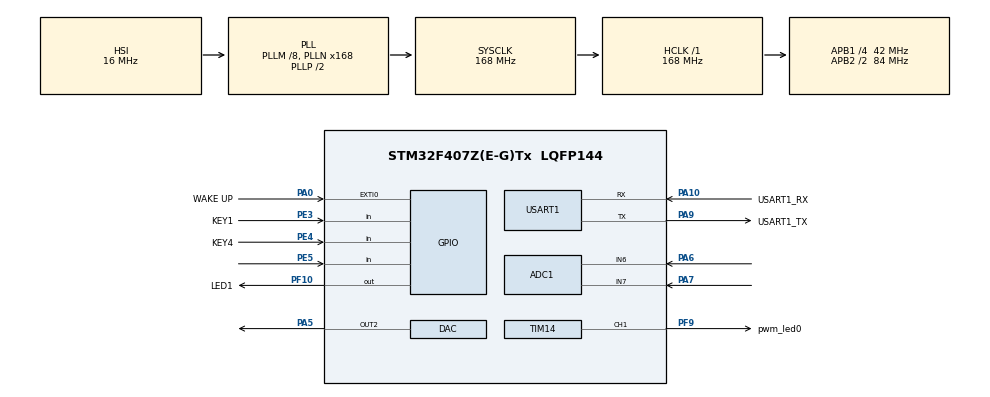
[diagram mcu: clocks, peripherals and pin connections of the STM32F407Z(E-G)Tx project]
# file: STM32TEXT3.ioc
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ADC1.Channel-0\#ChannelRegularConversion=ADC_CHANNEL_6
ADC1.Channel-1\#ChannelRegularConversion=ADC_CHANNEL_6
ADC1.ContinuousConvMode=ENABLE
ADC1.DMAContinuousRequests=ENABLE
ADC1.NbrOfConversion=2
ADC1.NbrOfConversionFlag=1
ADC1.Rank-0\#ChannelRegularConversion=1
ADC1.Rank-1\#ChannelRegularConversion=2
ADC1.SamplingTime-0\#ChannelRegularConversion=ADC_SAMPLETIME_3CYCLES
ADC1.SamplingTime-1\#ChannelRegularConversion=ADC_SAMPLETIME_3CYCLES
ADC1.ScanConvMode=ENABLE
ADC1.master=1
DAC.DAC_Trigger2=DAC_TRIGGER_T2_TRGO
DAC.TriangleAmplitude2=DAC_TRIANGLEAMPLITUDE_4095
DAC.WaveGeneration2=TriangleWaveGeneration
Dma.ADC1.0.Direction=DMA_PERIPH_TO_MEMORY
Dma.ADC1.0.FIFOMode=DMA_FIFOMODE_DISABLE
Dma.ADC1.0.Instance=DMA2_Stream0
Dma.ADC1.0.MemDataAlignment=DMA_MDATAALIGN_WORD
Dma.ADC1.0.MemInc=DMA_MINC_ENABLE
Dma.ADC1.0.Mode=DMA_CIRCULAR
Dma.ADC1.0.PeriphDataAlignment=DMA_PDATAALIGN_WORD
Dma.ADC1.0.PeriphInc=DMA_PINC_DISABLE
Dma.ADC1.0.Priority=DMA_PRIORITY_LOW
Dma.Request0=ADC1
Mcu.Family=STM32F4
Mcu.Name=STM32F407Z(E-G)Tx
Mcu.Package=LQFP144
NVIC.DMA2_Stream0_IRQn=true\:0\:0\:false\:false\:true\:false
NVIC.EXTI0_IRQn=true\:0\:0\:false\:false\:true\:true
NVIC.PriorityGroup=NVIC_PRIORITYGROUP_4
NVIC.TIM3_IRQn=true\:0\:0\:false\:false\:true\:true
PA0-WKUP.GPIO_Label=WAKE UP
PA0-WKUP.Signal=GPXTI0
PA10.GPIO_Label=USART1_RX
PA10.Mode=Asynchronous
PA10.Signal=USART1_RX
PA5.Signal=COMP_DAC2_group
PA6.Signal=ADCx_IN6
PA7.Signal=ADCx_IN7
PA9.GPIO_Label=USART1_TX
PA9.Mode=Asynchronous
PA9.Signal=USART1_TX
PC14-OSC32_IN.Mode=LSE-External-Oscillator
PC14-OSC32_IN.Signal=RCC_OSC32_IN
PC15-OSC32_OUT.Mode=LSE-External-Oscillator
PC15-OSC32_OUT.Signal=RCC_OSC32_OUT
PE3.GPIO_Label=KEY1
PE3.Signal=GPIO_Input
PE4.GPIO_Label=KEY4
PE4.Signal=GPIO_Input
PE5.Signal=GPIO_Input
PF10.GPIO_Label=LED1
PF10.Signal=GPIO_Output
PF9.GPIO_Label=pwm_led0
PF9.GPIO_Speed=GPIO_SPEED_FREQ_HIGH
PF9.Signal=S_TIM14_CH1
PH0-OSC_IN.Mode=HSE-External-Oscillator
PH0-OSC_IN.Signal=RCC_OSC_IN
PH1-OSC_OUT.Mode=HSE-External-Oscillator
PH1-OSC_OUT.Signal=RCC_OSC_OUT
ProjectManager.HeapSize=0x200
ProjectManager.StackSize=0x400
ProjectManager.TargetToolchain=MDK-ARM V5
RCC.48MHZClocksFreq_Value=84000000
RCC.AHBFreq_Value=168000000
RCC.APB1CLKDivider=RCC_HCLK_DIV4
RCC.APB1Freq_Value=42000000
RCC.APB1TimFreq_Value=84000000
RCC.APB2CLKDivider=RCC_HCLK_DIV2
RCC.APB2Freq_Value=84000000
RCC.APB2TimFreq_Value=168000000
RCC.CortexFreq_Value=168000000
RCC.HCLKFreq_Value=168000000
RCC.HSE_VALUE=8000000
RCC.HSI_VALUE=16000000
RCC.PLLM=8
RCC.PLLN=168
RCC.SYSCLKFreq_VALUE=168000000
RCC.SYSCLKSource=RCC_SYSCLKSOURCE_PLLCLK
RCC.VCOOutputFreq_Value=336000000
SH.ADCx_IN6.0=ADC1_IN6,IN6
SH.ADCx_IN7.0=ADC1_IN7,IN7
SH.COMP_DAC2_group.0=DAC_OUT2,DAC_OUT2
SH.S_TIM14_CH1.0=TIM14_CH1,PWM Generation1 CH1
TIM14.Channel=TIM_CHANNEL_1
TIM14.Period=200-1
TIM14.Prescaler=840-1
TIM2.Period=0xA
TIM2.Prescaler=0x2
TIM2.TIM_MasterOutputTrigger=TIM_TRGO_UPDATE
USART1.VirtualMode=VM_ASYNC
VP_TIM14_VS_ClockSourceINT.Mode=Enable_Timer
VP_TIM2_VS_ClockSourceINT.Mode=Internal
VP_TIM3_VS_ClockSourceINT.Mode=Internal
board=STM32TEXT3

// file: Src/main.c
/**
  ******************************************************************************
  * File Name          : main.c
  * Description        : Main program body
  ******************************************************************************
  ** This notice applies to any and all portions of this file
  * that are not between comment pairs USER CODE BEGIN and
  * USER CODE END. Other portions of this file, whether
  * inserted by the user or by software development tools
  * are owned by their respective copyright owners.
  *
  * COPYRIGHT(c) 2018 STMicroelectronics
  *
  * Redistribution and use in source and binary forms, with or without modification,
  * are permitted provided that the following conditions are met:
  *   1. Redistributions of source code must retain the above copyright notice,
  *      this list of conditions and the following disclaimer.
  *   2. Redistributions in binary form must reproduce the above copyright notice,
  *      this list of conditions and the following disclaimer in the documentation
  *      and/or other materials provided with the distribution.
  *   3. Neither the name of STMicroelectronics nor the names of its contributors
  *      may be used to endorse or promote products derived from this software
  *      without specific prior written permission.
  *
  * THIS SOFTWARE IS PROVIDED BY THE COPYRIGHT HOLDERS AND CONTRIBUTORS "AS IS"
  * AND ANY EXPRESS OR IMPLIED WARRANTIES, INCLUDING, BUT NOT LIMITED TO, THE
  * IMPLIED WARRANTIES OF MERCHANTABILITY AND FITNESS FOR A PARTICULAR PURPOSE ARE
  * DISCLAIMED. IN NO EVENT SHALL THE COPYRIGHT HOLDER OR CONTRIBUTORS BE LIABLE
  * FOR ANY DIRECT, INDIRECT, INCIDENTAL, SPECIAL, EXEMPLARY, OR CONSEQUENTIAL
  * DAMAGES (INCLUDING, BUT NOT LIMITED TO, PROCUREMENT OF SUBSTITUTE GOODS OR
  * SERVICES; LOSS OF USE, DATA, OR PROFITS; OR BUSINESS INTERRUPTION) HOWEVER
  * CAUSED AND ON ANY THEORY OF LIABILITY, WHETHER IN CONTRACT, STRICT LIABILITY,
  * OR TORT (INCLUDING NEGLIGENCE OR OTHERWISE) ARISING IN ANY WAY OUT OF THE USE
  * OF THIS SOFTWARE, EVEN IF ADVISED OF THE POSSIBILITY OF SUCH DAMAGE.
  *
  ******************************************************************************
  */

#include "main.h"
#include "stm32f4xx_hal.h"
#include "adc.h"
#include "dac.h"
#include "dma.h"
#include "tim.h"
#include "usart.h"
#include "gpio.h"

/* USER CODE BEGIN PV */
/* Private variables ---------------------------------------------------------*/
uint32_t ADC_Value[100];
uint8_t i;
uint32_t ad1,ad2;
/* USER CODE END PV */

void SystemClock_Config(void);

/* USER CODE BEGIN PFP */
/* Private function prototypes -----------------------------------------------*/

/* USER CODE END PFP */

int main(void)
{

  /* USER CODE BEGIN 1 */
//	uint16_t pwm_value=200;
//	uint16_t step;

  /* USER CODE END 1 */

  /* MCU Configuration----------------------------------------------------------*/

  /* Reset of all peripherals, Initializes the Flash interface and the Systick. */
  HAL_Init();

  /* Configure the system clock */
  SystemClock_Config();

  /* Initialize all configured peripherals */
  MX_GPIO_Init();
  MX_DMA_Init();
  MX_TIM3_Init();
  MX_TIM14_Init();
  MX_USART1_UART_Init();
  MX_ADC1_Init();
  MX_DAC_Init();
  MX_TIM2_Init();

  /* USER CODE BEGIN 2 */
	HAL_TIM_PWM_Start(&htim14, TIM_CHANNEL_1);
	printf("\n\r UART Printf Example: retarget the C library printf function to the UART\n\r");
  HAL_ADC_Start_DMA(&hadc1, (uint32_t*)&ADC_Value, 100);
	HAL_TIM_Base_Start(&htim2);
	HAL_DAC_Start(&hdac, DAC_CHANNEL_2);
  /* USER CODE END 2 */

  /* Infinite loop */
  while (1)
  {
		HAL_Delay(50);
		for(i = 0,ad1 =0,ad2=0; i < 10;)
		{
				ad1 += ADC_Value[i++];
//				ad2 += ADC_Value[i++];
				HAL_Delay(30);
		}
		ad1 /= 10;
//		ad2 /= 50;

		printf("\r\n******** ADC DMA Example ********\r\n\r\n");
		printf(" AD1 value = %1.3fV \r\n", ad1*3.3f/4096);
//		printf(" AD2 value = %1.3fV \r\n", ad2*3.3f/4096);
		printf(" Current value = %3.3fA\r\n", ad1*198.0f/4096);
  /* USER CODE BEGIN 3 */
//     printf("\n\r welcome to www.waveshere.com !!!\n\r");
//     HAL_Delay(1000);
  }
  /* USER CODE END 3 */

}

/** System Clock Configuration
*/
void SystemClock_Config(void)
{

  RCC_OscInitTypeDef RCC_OscInitStruct;
  RCC_ClkInitTypeDef RCC_ClkInitStruct;

    /**Configure the main internal regulator output voltage
    */
  __HAL_RCC_PWR_CLK_ENABLE();

  __HAL_PWR_VOLTAGESCALING_CONFIG(PWR_REGULATOR_VOLTAGE_SCALE1);

    /**Initializes the CPU, AHB and APB busses clocks
    */
  RCC_OscInitStruct.OscillatorType = RCC_OSCILLATORTYPE_HSI;
  RCC_OscInitStruct.HSIState = RCC_HSI_ON;
  RCC_OscInitStruct.HSICalibrationValue = 16;
  RCC_OscInitStruct.PLL.PLLState = RCC_PLL_ON;
  RCC_OscInitStruct.PLL.PLLSource = RCC_PLLSOURCE_HSI;
  RCC_OscInitStruct.PLL.PLLM = 8;
  RCC_OscInitStruct.PLL.PLLN = 168;
  RCC_OscInitStruct.PLL.PLLP = RCC_PLLP_DIV2;
  RCC_OscInitStruct.PLL.PLLQ = 4;
  if (HAL_RCC_OscConfig(&RCC_OscInitStruct) != HAL_OK)
  {
    _Error_Handler(__FILE__, __LINE__);
  }

    /**Initializes the CPU, AHB and APB busses clocks
    */
  RCC_ClkInitStruct.ClockType = RCC_CLOCKTYPE_HCLK|RCC_CLOCKTYPE_SYSCLK
                              |RCC_CLOCKTYPE_PCLK1|RCC_CLOCKTYPE_PCLK2;
  RCC_ClkInitStruct.SYSCLKSource = RCC_SYSCLKSOURCE_PLLCLK;
  RCC_ClkInitStruct.AHBCLKDivider = RCC_SYSCLK_DIV1;
  RCC_ClkInitStruct.APB1CLKDivider = RCC_HCLK_DIV4;
  RCC_ClkInitStruct.APB2CLKDivider = RCC_HCLK_DIV2;

  if (HAL_RCC_ClockConfig(&RCC_ClkInitStruct, FLASH_LATENCY_5) != HAL_OK)
  {
    _Error_Handler(__FILE__, __LINE__);
  }

    /**Configure the Systick interrupt time
    */
  HAL_SYSTICK_Config(HAL_RCC_GetHCLKFreq()/1000);

    /**Configure the Systick
    */
  HAL_SYSTICK_CLKSourceConfig(SYSTICK_CLKSOURCE_HCLK);

  /* SysTick_IRQn interrupt configuration */
  HAL_NVIC_SetPriority(SysTick_IRQn, 0, 0);
}

/* USER CODE BEGIN 4 */
void user_pwm_setvalue(uint16_t value)
{
		TIM_OC_InitTypeDef sConfigOC;
    sConfigOC.OCMode = TIM_OCMODE_PWM1;
    sConfigOC.Pulse = value;
    sConfigOC.OCPolarity = TIM_OCPOLARITY_HIGH;
    sConfigOC.OCFastMode = TIM_OCFAST_DISABLE;
    HAL_TIM_PWM_ConfigChannel(&htim14, &sConfigOC, TIM_CHANNEL_1);
    HAL_TIM_PWM_Start(&htim14, TIM_CHANNEL_1);

}

//void HAL_GPIO_EXTI_Callback(uint16_t GPIO_Pin)
//{
//	if(GPIO_Pin==GPIO_PIN_0)
//	{
//
//	}
//}

/* USER CODE END 4 */

void _Error_Handler(char * file, int line)
{
  while(1)
  {
  }
}

/************************ (C) COPYRIGHT STMicroelectronics *****END OF FILE****/
